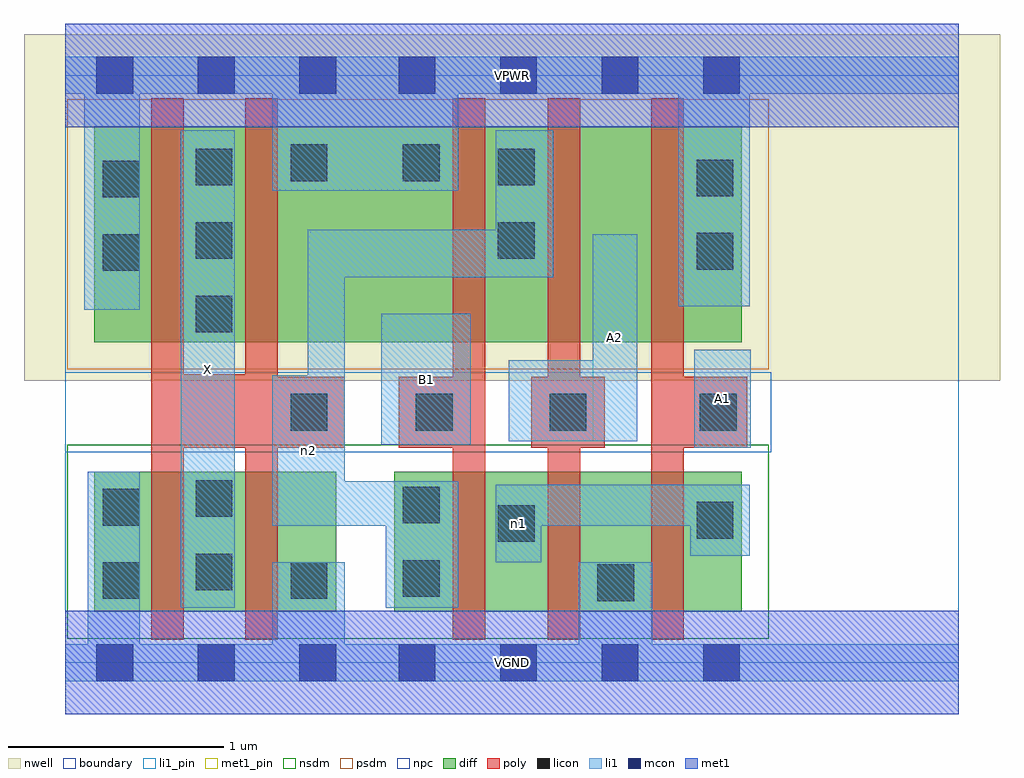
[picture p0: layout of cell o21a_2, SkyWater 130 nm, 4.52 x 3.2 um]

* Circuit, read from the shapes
.subckt o21a_2 A1 A2 B1 VGND VPWR X n1 n2
XM1 X n2 VGND VSUBS sky130_fd_pr__nfet_01v8 w=0.65 l=0.15 m=2
XM2 n1 B1 n2 VSUBS sky130_fd_pr__nfet_01v8 w=0.65 l=0.15
XM3 VGND A2 n1 VSUBS sky130_fd_pr__nfet_01v8 w=0.65 l=0.15
XM4 n1 A1 VGND VSUBS sky130_fd_pr__nfet_01v8 w=0.65 l=0.15
XM5 X n2 VPWR n3 sky130_fd_pr__pfet_01v8 w=1 l=0.15 m=2
XM6 n2 B1 VPWR n3 sky130_fd_pr__pfet_01v8 w=1 l=0.15
XM7 n4 A2 n2 n3 sky130_fd_pr__pfet_01v8 w=1 l=0.15
XM8 VPWR A1 n4 n3 sky130_fd_pr__pfet_01v8 w=1 l=0.15
.ends

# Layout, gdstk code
import gdstk
lib = gdstk.Library(unit=1e-6, precision=1e-09)
def R(c, l, rs):  # rectangles x0, y0, x1, y1
    for r in rs: c.add(gdstk.rectangle(r[:2], r[2:], *l))
def A(c, l, x, y, w, h, nx, ny, dx, dy):  # array of equal rectangles
    R(c, l, [(x+i*dx, y+j*dy, x+i*dx+w, y+j*dy+h) for i in range(nx) for j in range(ny)])
nwell = (64, 20)
diff = (65, 20)
poly = (66, 20)
licon = (66, 44)
li1_pin = (67, 16)
li1 = (67, 20)
mcon = (67, 44)
met1_pin = (68, 16)
met1 = (68, 20)
nsdm = (93, 44)
psdm = (94, 20)
npc = (95, 20)
boundary = (235, 4)

o21a_2 = lib.new_cell('o21a_2')
R(o21a_2, nwell, [(-0.19,1.305,4.33,2.91), (0,1.305,4.14,2.91)])
R(o21a_2, diff, [(0.135,0.235,1.255,0.885), (1.525,0.235,3.135,0.885), (0.135,1.485,3.135,2.485)])
R(o21a_2, poly, [(0.4,0.105,0.55,2.615), (0.835,0.105,0.985,2.615), (1.795,0.105,1.945,2.615), (2.235,0.105,2.385,2.615), (2.715,0.105,2.865,2.615), (0.4,0.995,1.295,1.325), (0.4,0.995,0.985,1.335), (1.545,0.995,1.945,1.325), (2.16,0.995,2.5,1.325), (2.715,0.995,3.16,1.325)])
A(o21a_2, licon, 0.605, 1.53, 0.17, 0.17, 1, 3, 0, 0.34)
R(o21a_2, licon, [(2.465,0.285,2.635,0.455), (0.175,0.295,0.345,0.465), (1.045,0.295,1.215,0.465), (1.565,0.305,1.735,0.475), (0.605,0.335,0.775,0.505), (2.005,0.56,2.175,0.73), (2.925,0.575,3.095,0.745), (0.175,0.635,0.345,0.805), (1.565,0.645,1.735,0.815), (0.605,0.675,0.775,0.845), (1.045,1.075,1.215,1.245), (1.625,1.075,1.795,1.245), (2.245,1.075,2.415,1.245), (2.94,1.075,3.11,1.245), (0.175,1.815,0.345,1.985), (2.925,1.82,3.095,1.99), (2.005,1.87,2.175,2.04), (0.175,2.155,0.345,2.325), (2.925,2.16,3.095,2.33), (2.005,2.21,2.175,2.38), (1.045,2.23,1.215,2.4), (1.565,2.23,1.735,2.4)])
R(o21a_2, li1_pin, [(0.535,0.255,0.785,2.465), (2.915,0.995,3.175,1.45), (1.465,1.01,1.88,1.615), (2.445,1.025,2.65,1.985)])
R(o21a_2, li1, [(0,-0.085,4.14,0.085), (0.105,-0.085,0.345,0.885), (0.96,-0.085,1.295,0.465), (2.38,-0.085,2.72,0.465), (0.535,0.255,0.785,2.465), (1.485,0.255,1.82,0.84), (1.995,0.465,2.205,0.825), (2.895,0.495,3.17,0.825), (0.96,0.635,1.295,1.33), (0.96,0.635,1.82,0.84), (1.125,0.635,1.295,2.005), (1.995,0.635,3.17,0.825), (2.915,0.995,3.175,1.45), (1.465,1.01,1.88,1.615), (2.055,1.025,2.65,1.4), (2.445,1.025,2.65,1.985), (0.09,1.635,0.345,2.805), (2.84,1.65,3.17,2.805), (1.125,1.785,2.26,2.005), (1.995,1.785,2.26,2.465), (0.96,2.185,1.82,2.805), (0,2.635,4.14,2.805)])
A(o21a_2, mcon, 0.145, -0.085, 0.17, 0.17, 3, 2, 0.47, 2.72)
A(o21a_2, mcon, 1.545, -0.085, 0.17, 0.17, 4, 2, 0.47, 2.72)
R(o21a_2, met1_pin, [(0,-0.24,4.14,0.24), (0,2.48,4.14,2.96)])
R(o21a_2, met1, [(0,-0.24,4.14,0.24), (0,2.48,4.14,2.96)])
R(o21a_2, nsdm, [(0.01,0.11,3.26,1.01)])
R(o21a_2, psdm, [(0.01,1.36,3.26,2.61)])
R(o21a_2, npc, [(0,0.975,3.27,1.345)])
R(o21a_2, boundary, [(0,0,4.14,2.72)])
o21a_2.add(gdstk.Label('A1', (3.045,1.222), layer=67, texttype=5))
o21a_2.add(gdstk.Label('A2', (2.547,1.505), layer=67, texttype=5))
o21a_2.add(gdstk.Label('B1', (1.672,1.312), layer=67, texttype=5))
o21a_2.add(gdstk.Label('X', (0.66,1.36), layer=67, texttype=5))
o21a_2.add(gdstk.Label('n1', (2.1,0.645), layer=67, texttype=5))
o21a_2.add(gdstk.Label('n2', (1.127,0.982), layer=67, texttype=5))
o21a_2.add(gdstk.Label('VPWR', (2.07,2.72), layer=68, texttype=5))
o21a_2.add(gdstk.Label('VGND', (2.07,0), layer=68, texttype=5))
o21a_2.add(gdstk.Label('A1', (3.045,1.222), layer=67, texttype=16))
o21a_2.add(gdstk.Label('A2', (2.547,1.505), layer=67, texttype=16))
o21a_2.add(gdstk.Label('B1', (1.672,1.312), layer=67, texttype=16))
o21a_2.add(gdstk.Label('X', (0.66,1.36), layer=67, texttype=16))
o21a_2.add(gdstk.Label('VPWR', (2.07,2.72), layer=68, texttype=16))
o21a_2.add(gdstk.Label('VGND', (2.07,0), layer=68, texttype=16))

lib.write_gds('o21a_2.gds')
